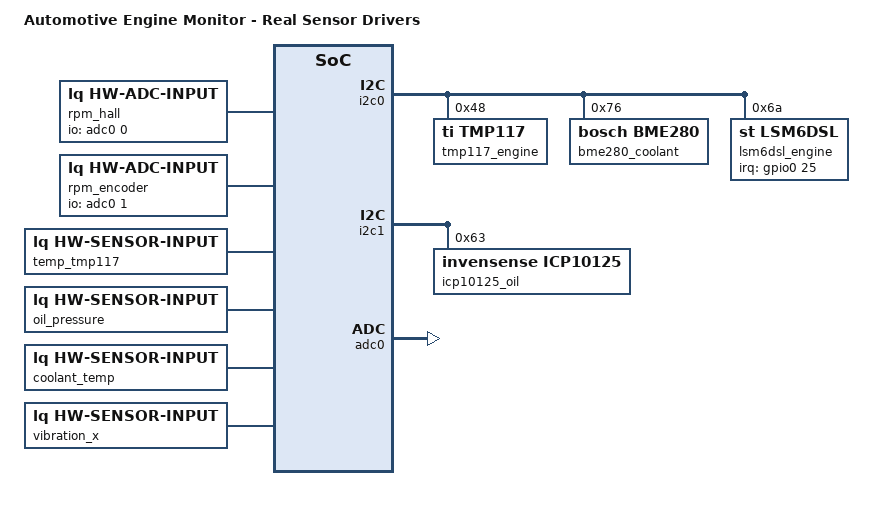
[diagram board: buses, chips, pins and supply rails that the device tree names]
/dts-v1/;

/ {
    model = "Automotive Engine Monitor - Real Sensor Drivers";
    
    /* ========================================================================
     * ENGINE: Root configuration with init priority
     * ======================================================================== */
    
    engine: lq-engine {
        compatible = "lq,engine";
        max-signals = <32>;
        max-merges = <8>;
        max-cyclic-outputs = <16>;
        init-priority = <85>;        /* After sensors (60-79) */
    };
    
    /* ========================================================================
     * HARDWARE INPUTS: Using actual Zephyr sensor drivers
     * ======================================================================== */
    
    /* Primary RPM sensor: Hall effect via ADC */
    rpm_hall: lq-hw-adc-input@0 {
        compatible = "lq,hw-adc-input";
        status = "okay";
        
        io-channels = <&adc0 0>;     /* ADC0 channel 0 */
        isr-priority = <3>;
        stale-us = <5000>;           /* 5ms - critical for RPM */
        init-priority = <80>;
    };
    
    /* Secondary RPM sensor: Encoder via high-speed timer */
    rpm_encoder: lq-hw-adc-input@1 {
        compatible = "lq,hw-adc-input";
        status = "okay";
        
        io-channels = <&adc0 1>;     /* ADC0 channel 1 */
        isr-priority = <3>;
        stale-us = <5000>;
        init-priority = <80>;
    };
    
    /* Engine temperature: TMP117 high-precision I2C sensor */
    temp_tmp117: lq-hw-sensor-input@0 {
        compatible = "lq,hw-sensor-input";
        status = "okay";
        
        sensor-device = <&tmp117_engine>;  /* Reference actual sensor node */
        sensor-channel = <0>;              /* SENSOR_CHAN_AMBIENT_TEMP */
        trigger-type = "data-ready";
        scale-factor = <100>;              /* 0.01°C precision → int32 */
        offset = <0>;
        stale-us = <100000>;               /* 100ms */
        init-priority = <80>;              /* After TMP117 driver (70) */
    };
    
    /* Oil pressure: ICP10125 barometric pressure sensor */
    oil_pressure: lq-hw-sensor-input@1 {
        compatible = "lq,hw-sensor-input";
        status = "okay";
        
        sensor-device = <&icp10125_oil>;   /* Reference actual sensor */
        sensor-channel = <1>;              /* SENSOR_CHAN_PRESS */
        trigger-type = "data-ready";
        scale-factor = <1000>;             /* kPa → Pa */
        offset = <0>;
        stale-us = <50000>;                /* 50ms */
        init-priority = <80>;
    };
    
    /* Coolant temperature: BME280 (also provides humidity/pressure) */
    coolant_temp: lq-hw-sensor-input@2 {
        compatible = "lq,hw-sensor-input";
        status = "okay";
        
        sensor-device = <&bme280_coolant>;
        sensor-channel = <0>;              /* SENSOR_CHAN_AMBIENT_TEMP */
        trigger-type = "poll";
        poll-interval-ms = <500>;          /* 2Hz polling */
        scale-factor = <100>;
        offset = <0>;
        stale-us = <1000000>;              /* 1s */
        init-priority = <80>;
    };
    
    /* Vibration: LSM6DSL accelerometer (3-axis) */
    vibration_x: lq-hw-sensor-input@3 {
        compatible = "lq,hw-sensor-input";
        status = "okay";
        
        sensor-device = <&lsm6dsl_engine>;
        sensor-channel = <10>;             /* SENSOR_CHAN_ACCEL_X */
        trigger-type = "data-ready";
        scale-factor = <1000>;             /* m/s² to mm/s² */
        offset = <0>;
        stale-us = <20000>;                /* 20ms */
        init-priority = <80>;
    };
    
    /* ========================================================================
     * MID-LEVEL PROCESSING: Merge and validation
     * ======================================================================== */
    
    /* Merge dual RPM sensors with median voting */
    rpm_merge: lq-mid-merge@0 {
        compatible = "lq,mid-merge";
        status = "okay";
        
        sources = <&rpm_hall &rpm_encoder>;
        voting-method = "median";
        tolerance = <50>;            /* Max 50 RPM spread */
        stale-us = <10000>;
    };
    
    /* Temperature average (could have multiple temp sensors) */
    temp_validated: lq-mid-merge@1 {
        compatible = "lq,mid-merge";
        status = "okay";
        
        sources = <&temp_tmp117 &coolant_temp>;
        voting-method = "average";
        tolerance = <500>;           /* Max 5°C difference (scaled) */
        stale-us = <200000>;
    };
    
    /* ========================================================================
     * CYCLIC OUTPUTS: Auto-generate deadline scheduling
     * ======================================================================== */
    
    /* J1939 CAN: Engine RPM at 10Hz (high priority) */
    can_rpm: lq-cyclic-output@0 {
        compatible = "lq,cyclic-output";
        status = "okay";
        
        source = <&rpm_merge>;
        output-type = "j1939";
        target-id = <0xFEF1>;        /* SAE J1939 Engine Speed PGN */
        period-us = <100000>;        /* 100ms = 10Hz */
        priority = <3>;              /* High priority */
        deadline-offset-us = <0>;
    };
    
    /* J1939 CAN: Engine temperature at 1Hz */
    can_temp: lq-cyclic-output@1 {
        compatible = "lq,cyclic-output";
        status = "okay";
        
        source = <&temp_tmp117>;
        output-type = "j1939";
        target-id = <0xFEEE>;        /* Engine Temperature PGN */
        period-us = <1000000>;       /* 1s = 1Hz */
        priority = <6>;              /* Lower priority */
        deadline-offset-us = <10000>;
    };
    
    /* J1939 CAN: Oil pressure at 5Hz */
    can_oil: lq-cyclic-output@2 {
        compatible = "lq,cyclic-output";
        status = "okay";
        
        source = <&oil_pressure>;
        output-type = "j1939";
        target-id = <0xFEEF>;        /* Engine Fluid Level/Pressure PGN */
        period-us = <200000>;        /* 200ms = 5Hz */
        priority = <4>;
        deadline-offset-us = <20000>;
    };
    
    /* J1939 CAN: Vibration data at 20Hz (diagnostic) */
    can_vibration: lq-cyclic-output@3 {
        compatible = "lq,cyclic-output";
        status = "okay";
        
        source = <&vibration_x>;
        output-type = "j1939";
        target-id = <0xFEF2>;        /* Custom vibration PGN */
        period-us = <50000>;         /* 50ms = 20Hz */
        priority = <7>;              /* Lowest priority */
        deadline-offset-us = <30000>;
    };
};

/* ============================================================================
 * ACTUAL SENSOR DEVICE NODES (referenced above)
 * These would normally come from your board's .dts file
 * ========================================================================== */

&i2c0 {
    status = "okay";
    
    /* TMP117: High-precision temperature sensor for engine block */
    tmp117_engine: tmp117@48 {
        compatible = "ti,tmp117";
        reg = <0x48>;
        status = "okay";
    };
    
    /* BME280: Environmental sensor for coolant system */
    bme280_coolant: bme280@76 {
        compatible = "bosch,bme280";
        reg = <0x76>;
        status = "okay";
    };
    
    /* LSM6DSL: 6-axis IMU for vibration monitoring */
    lsm6dsl_engine: lsm6dsl@6a {
        compatible = "st,lsm6dsl";
        reg = <0x6a>;
        status = "okay";
        irq-gpios = <&gpio0 25 GPIO_ACTIVE_HIGH>;
    };
};

&i2c1 {
    status = "okay";
    
    /* ICP10125: High-precision pressure sensor for oil pressure */
    icp10125_oil: icp10125@63 {
        compatible = "invensense,icp10125";
        reg = <0x63>;
        status = "okay";
    };
};

&adc0 {
    status = "okay";
    /* ADC channels 0-1 used for RPM sensors (Hall + Encoder) */
};
